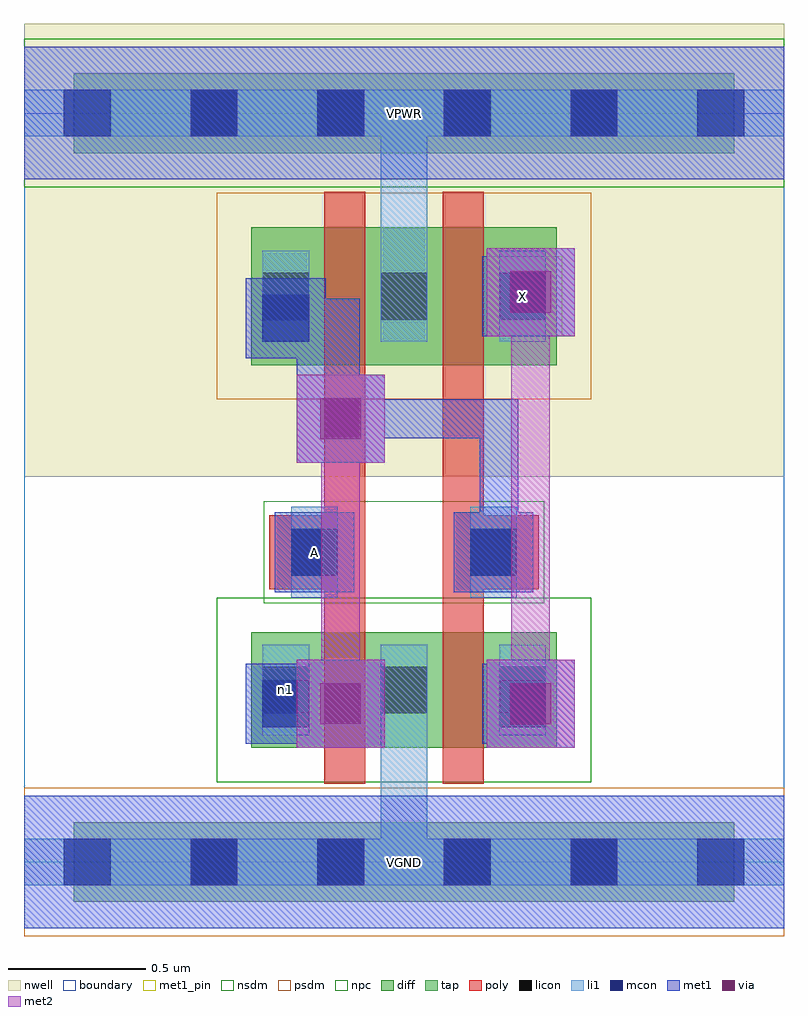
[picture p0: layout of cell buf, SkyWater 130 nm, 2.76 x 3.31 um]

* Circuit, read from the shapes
.subckt buf A VGND VPWR X n1
XM1 VGND A n1 VGND sky130_fd_pr__nfet_01v8 w=0.42 l=0.15
XM2 X n1 VGND VGND sky130_fd_pr__nfet_01v8 w=0.42 l=0.15
XM3 VPWR A n1 VPWR sky130_fd_pr__pfet_01v8 w=0.5 l=0.15
XM4 X n1 VPWR VPWR sky130_fd_pr__pfet_01v8 w=0.5 l=0.15
.ends

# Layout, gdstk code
import gdstk
lib = gdstk.Library(unit=1e-6, precision=1e-09)
def R(c, l, rs):  # rectangles x0, y0, x1, y1
    for r in rs: c.add(gdstk.rectangle(r[:2], r[2:], *l))
def A(c, l, x, y, w, h, nx, ny, dx, dy):  # array of equal rectangles
    R(c, l, [(x+i*dx, y+j*dy, x+i*dx+w, y+j*dy+h) for i in range(nx) for j in range(ny)])
nwell = (64, 20)
diff = (65, 20)
tap = (65, 44)
poly = (66, 20)
licon = (66, 44)
li1 = (67, 20)
mcon = (67, 44)
met1_pin = (68, 16)
met1 = (68, 20)
via = (68, 44)
met2 = (69, 20)
nsdm = (93, 44)
psdm = (94, 20)
npc = (95, 20)
boundary = (235, 4)

buf = lib.new_cell('buf')
R(buf, nwell, [(0,1.4,2.76,3.045)])
R(buf, diff, [(0.825,0.415,1.935,0.835), (0.825,1.805,1.935,2.305)])
R(buf, tap, [(0.18,-0.145,2.58,0.145), (0.18,2.575,2.58,2.865)])
R(buf, poly, [(1.09,0.285,1.24,2.435), (1.52,0.285,1.67,2.435), (0.89,0.99,1.22,1.26), (1.54,0.99,1.87,1.26)])
A(buf, licon, 0.605, -0.085, 0.17, 0.17, 4, 2, 0.46, 2.72)
A(buf, licon, 0.865, 0.54, 0.17, 0.17, 3, 2, 0.43, 1.43)
R(buf, licon, [(0.97,1.04,1.14,1.21), (1.62,1.04,1.79,1.21)])
A(buf, li1, 0.865, 0.46, 0.17, 0.33, 3, 2, 0.43, 1.43)
R(buf, li1, [(0,-0.085,2.76,0.085), (1.295,-0.085,1.465,0.79), (0.97,0.96,1.14,1.29), (1.62,0.96,1.79,1.29), (1.295,1.89,1.465,2.805), (0,2.635,2.76,2.805)])
A(buf, mcon, 0.145, -0.085, 0.17, 0.17, 6, 2, 0.46, 2.72)
R(buf, mcon, [(0.865,0.49,1.035,0.66), (1.725,0.49,1.895,0.66), (0.97,1.04,1.14,1.21), (1.62,1.04,1.79,1.21), (0.865,1.89,1.035,2.06), (1.725,1.97,1.895,2.14)])
R(buf, met1_pin, [(0,-0.24,2.76,0.24), (0.91,0.98,1.2,1.27), (1.665,1.91,1.955,2.2), (0,2.48,2.76,2.96)])
R(buf, met1, [(0,-0.24,2.76,0.24), (0.99,0.415,1.31,0.735), (1.68,0.415,2,0.735), (0.805,0.43,1.095,0.72), (1.665,0.43,1.955,0.72), (0.88,0.505,1.22,0.645), (1.74,0.505,1.91,0.645), (0.91,0.98,1.2,1.27), (1.56,0.98,1.85,1.27), (1.655,1.08,1.795,1.22), (1.655,1.08,1.795,1.68), (0.99,1.45,1.31,1.77), (1.08,1.54,1.795,1.68), (1.08,1.54,1.22,1.91), (0.99,1.77,1.095,1.83), (0.99,1.77,1.22,1.905), (1.08,1.77,1.22,2.045), (0.805,1.83,1.095,2.12), (0.88,1.905,1.22,2.045), (1.665,1.91,1.955,2.2), (1.68,1.91,2,2.23), (1.77,2,1.91,2.14), (0,2.48,2.76,2.96)])
R(buf, via, [(1.075,0.5,1.225,0.65), (1.765,0.5,1.915,0.65), (1.075,1.535,1.225,1.685), (1.765,1.995,1.915,2.145)])
R(buf, met2, [(0.99,0.415,1.31,0.735), (1.68,0.415,2,0.735), (1.08,0.505,1.22,1.68), (1.77,0.505,1.91,2.14), (0.99,1.45,1.31,1.77), (1.68,1.91,2,2.23)])
R(buf, nsdm, [(0.7,0.29,2.06,0.96), (0,2.45,2.76,2.99)])
R(buf, psdm, [(0,-0.27,2.76,0.27), (0.7,1.68,2.06,2.43)])
R(buf, npc, [(0.87,0.94,1.89,1.31)])
R(buf, boundary, [(0,0,2.76,2.72)])
buf.add(gdstk.Label('n1', (0.95,0.625), layer=67, texttype=5))
buf.add(gdstk.Label('A', (1.055,1.125), layer=68, texttype=5))
buf.add(gdstk.Label('X', (1.81,2.055), layer=68, texttype=5))
buf.add(gdstk.Label('VPWR', (1.38,2.72), layer=68, texttype=5))
buf.add(gdstk.Label('VGND', (1.38,0), layer=68, texttype=5))
buf.add(gdstk.Label('A', (1.055,1.125), layer=68, texttype=16))
buf.add(gdstk.Label('X', (1.81,2.055), layer=68, texttype=16))
buf.add(gdstk.Label('VPWR', (1.38,2.72), layer=68, texttype=16))
buf.add(gdstk.Label('VGND', (1.38,0), layer=68, texttype=16))

lib.write_gds('buf.gds')
